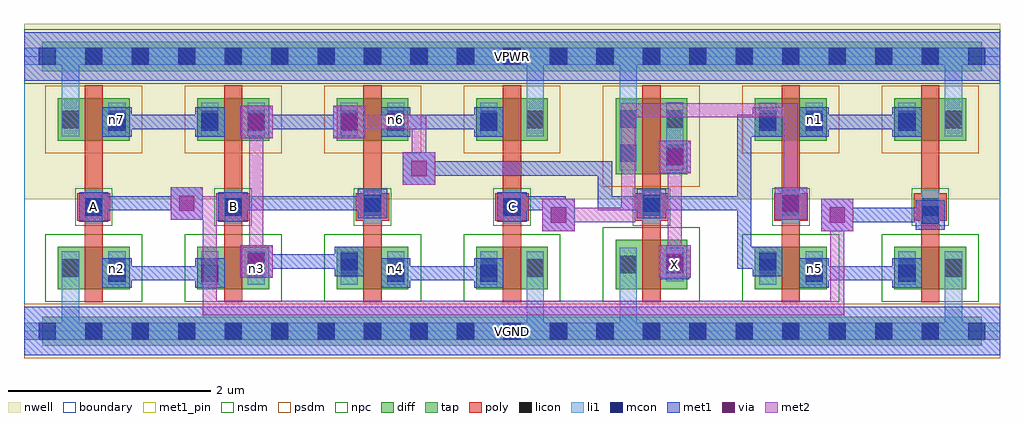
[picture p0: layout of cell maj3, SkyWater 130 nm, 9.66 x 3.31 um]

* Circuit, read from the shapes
.subckt maj3 A B C VGND VPWR X n1 n2 n3 n4 n5 n6 n7
XM1 n2 A VGND VGND sky130_fd_pr__nfet_01v8 w=0.42 l=0.18
XM2 n3 B n2 VGND sky130_fd_pr__nfet_01v8 w=0.42 l=0.18
XM3 n4 B n3 VGND sky130_fd_pr__nfet_01v8 w=0.42 l=0.18
XM4 VGND C n4 VGND sky130_fd_pr__nfet_01v8 w=0.42 l=0.18
XM5 X n3 VGND VGND sky130_fd_pr__nfet_01v8 w=0.49 l=0.18
XM6 n5 C n3 VGND sky130_fd_pr__nfet_01v8 w=0.42 l=0.18
XM7 VGND A n5 VGND sky130_fd_pr__nfet_01v8 w=0.42 l=0.18
XM8 n7 A VPWR VPWR sky130_fd_pr__pfet_01v8 w=0.42 l=0.18
XM9 n3 B n7 VPWR sky130_fd_pr__pfet_01v8 w=0.42 l=0.18
XM10 n6 B n3 VPWR sky130_fd_pr__pfet_01v8 w=0.42 l=0.18
XM11 VPWR C n6 VPWR sky130_fd_pr__pfet_01v8 w=0.42 l=0.18
XM12 X n3 VPWR VPWR sky130_fd_pr__pfet_01v8 w=0.75 l=0.18
XM13 n1 C n3 VPWR sky130_fd_pr__pfet_01v8 w=0.42 l=0.18
XM14 VPWR A n1 VPWR sky130_fd_pr__pfet_01v8 w=0.42 l=0.18
.ends

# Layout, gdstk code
import gdstk
lib = gdstk.Library(unit=1e-6, precision=1e-09)
def R(c, l, rs):  # rectangles x0, y0, x1, y1
    for r in rs: c.add(gdstk.rectangle(r[:2], r[2:], *l))
def A(c, l, x, y, w, h, nx, ny, dx, dy):  # array of equal rectangles
    R(c, l, [(x+i*dx, y+j*dy, x+i*dx+w, y+j*dy+h) for i in range(nx) for j in range(ny)])
nwell = (64, 20)
diff = (65, 20)
tap = (65, 44)
poly = (66, 20)
licon = (66, 44)
li1 = (67, 20)
mcon = (67, 44)
met1_pin = (68, 16)
met1 = (68, 20)
via = (68, 44)
met2 = (69, 20)
nsdm = (93, 44)
psdm = (94, 20)
npc = (95, 20)
boundary = (235, 4)

maj3 = lib.new_cell('maj3')
R(maj3, nwell, [(0,1.305,9.66,3.045)])
A(maj3, diff, 0.335, 0.415, 0.71, 0.42, 4, 2, 1.38, 1.47)
R(maj3, diff, [(5.855,0.415,6.565,0.905), (7.235,0.415,7.945,0.835), (8.615,0.415,9.325,0.835), (5.855,1.555,6.565,2.305), (7.235,1.885,7.945,2.305), (8.615,1.885,9.325,2.305)])
R(maj3, tap, [(0.18,-0.145,9.48,0.145), (0.18,2.575,9.48,2.865)])
A(maj3, poly, 0.6, 0.285, 0.18, 2.15, 7, 1, 1.38, 0)
A(maj3, poly, 0.525, 1.095, 0.33, 0.27, 7, 1, 1.38, 0)
A(maj3, licon, 0.605, -0.085, 0.17, 0.17, 19, 2, 0.46, 2.72)
A(maj3, licon, 0.605, 1.145, 0.17, 0.17, 7, 1, 1.38, 0)
R(maj3, licon, [(0.375,0.54,0.545,0.71), (0.835,0.54,1.005,0.71), (1.755,0.54,1.925,0.71), (2.215,0.54,2.385,0.71), (3.135,0.54,3.305,0.71), (3.595,0.54,3.765,0.71), (4.515,0.54,4.685,0.71), (4.975,0.54,5.145,0.71), (7.275,0.54,7.445,0.71), (7.735,0.54,7.905,0.71), (8.655,0.54,8.825,0.71), (9.115,0.54,9.285,0.71), (5.895,0.575,6.065,0.745), (6.355,0.575,6.525,0.745), (5.895,1.675,6.065,1.845), (6.355,1.675,6.525,1.845), (0.375,2.01,0.545,2.18), (0.835,2.01,1.005,2.18), (1.755,2.01,1.925,2.18), (2.215,2.01,2.385,2.18), (3.135,2.01,3.305,2.18), (3.595,2.01,3.765,2.18), (4.515,2.01,4.685,2.18), (4.975,2.01,5.145,2.18), (7.275,2.01,7.445,2.18), (7.735,2.01,7.905,2.18), (8.655,2.01,8.825,2.18), (9.115,2.01,9.285,2.18), (5.895,2.015,6.065,2.185), (6.355,2.015,6.525,2.185)])
A(maj3, li1, 0.605, 1.065, 0.17, 0.33, 7, 1, 1.38, 0)
R(maj3, li1, [(0,-0.085,9.66,0.085), (0.375,-0.085,0.545,0.79), (4.975,-0.085,5.145,0.79), (5.895,-0.085,6.065,0.825), (9.115,-0.085,9.285,0.79), (0.375,0.46,0.545,0.79), (0.835,0.46,1.005,0.79), (1.755,0.46,1.925,0.79), (2.215,0.46,2.385,0.79), (3.135,0.46,3.305,0.79), (3.595,0.46,3.765,0.79), (4.515,0.46,4.685,0.79), (4.975,0.46,5.145,0.79), (7.275,0.46,7.445,0.79), (7.735,0.46,7.905,0.79), (8.655,0.46,8.825,0.79), (9.115,0.46,9.285,0.79), (5.895,0.495,6.065,0.825), (6.355,0.495,6.525,0.825), (5.895,1.595,6.065,2.265), (5.895,1.595,6.065,2.805), (6.355,1.595,6.525,2.265), (0.375,1.93,0.545,2.26), (0.375,1.93,0.545,2.805), (0.835,1.93,1.005,2.26), (1.755,1.93,1.925,2.26), (2.215,1.93,2.385,2.26), (3.135,1.93,3.305,2.26), (3.595,1.93,3.765,2.26), (4.515,1.93,4.685,2.26), (4.975,1.93,5.145,2.26), (4.975,1.93,5.145,2.805), (7.275,1.93,7.445,2.26), (7.735,1.93,7.905,2.26), (8.655,1.93,8.825,2.26), (9.115,1.93,9.285,2.26), (9.115,1.93,9.285,2.805), (0,2.635,9.66,2.805)])
A(maj3, mcon, 0.145, -0.085, 0.17, 0.17, 21, 2, 0.46, 2.72)
R(maj3, mcon, [(0.835,0.49,1.005,0.66), (1.755,0.49,1.925,0.66), (3.595,0.49,3.765,0.66), (4.515,0.49,4.685,0.66), (7.735,0.49,7.905,0.66), (8.655,0.49,8.825,0.66), (6.355,0.575,6.525,0.745), (2.215,0.605,2.385,0.775), (3.135,0.605,3.305,0.775), (7.275,0.605,7.445,0.775), (8.885,1.065,9.055,1.235), (0.605,1.145,0.775,1.315), (1.985,1.145,2.155,1.315), (4.745,1.145,4.915,1.315), (3.365,1.18,3.535,1.35), (6.125,1.18,6.295,1.35), (7.505,1.18,7.675,1.35), (6.355,1.64,6.525,1.81), (0.835,1.985,1.005,2.155), (1.755,1.985,1.925,2.155), (2.215,1.985,2.385,2.155), (3.135,1.985,3.305,2.155), (3.595,1.985,3.765,2.155), (4.515,1.985,4.685,2.155), (7.275,1.985,7.445,2.155), (7.735,1.985,7.905,2.155), (8.655,1.985,8.825,2.155)])
R(maj3, met1_pin, [(0,-0.24,9.66,0.24), (6.295,0.515,6.585,0.805), (0.545,1.085,0.835,1.375), (1.925,1.085,2.215,1.375), (4.685,1.085,4.975,1.375), (0,2.48,9.66,2.96)])
A(maj3, met1, 0.85, 2, 1.06, 0.14, 3, 1, 1.38, 0)
R(maj3, met1, [(0,-0.24,9.66,0.24), (0.775,0.43,1.065,0.72), (1.695,0.43,1.985,0.72), (3.535,0.43,3.825,0.72), (4.455,0.43,4.745,0.72), (7.675,0.43,7.965,0.72), (8.595,0.43,8.885,0.72), (0.85,0.505,1.91,0.645), (3.61,0.505,4.67,0.645), (7.75,0.505,8.81,0.645), (6.295,0.515,6.585,0.805), (2.14,0.53,2.46,0.85), (6.28,0.53,6.6,0.85), (2.155,0.545,2.445,0.835), (3.075,0.545,3.365,0.835), (7.215,0.545,7.505,0.835), (2.23,0.62,3.29,0.76), (6.37,0.62,6.51,0.76), (7.06,0.62,7.2,1.335), (7.06,0.62,7.43,0.76), (7.2,0.62,7.215,0.835), (5.13,0.99,5.45,1.31), (7.89,0.99,8.21,1.31), (8.825,1.005,9.115,1.295), (5.22,1.08,5.36,1.335), (7.98,1.08,9.04,1.22), (0.545,1.085,0.835,1.375), (1.925,1.085,2.215,1.375), (4.685,1.085,4.975,1.375), (1.45,1.105,1.77,1.425), (7.43,1.105,7.75,1.425), (3.305,1.12,3.595,1.41), (6.065,1.12,6.355,1.41), (7.445,1.12,7.735,1.41), (0.62,1.195,0.76,1.335), (0.62,1.195,1.68,1.335), (2,1.195,2.14,1.335), (2,1.195,3.52,1.335), (4.76,1.195,4.9,1.335), (4.76,1.195,5.36,1.335), (5.68,1.195,5.82,1.68), (5.68,1.195,6.28,1.335), (6.14,1.195,7.2,1.335), (7.06,1.195,7.2,2.14), (3.75,1.45,4.07,1.77), (3.84,1.54,5.82,1.68), (6.28,1.565,6.6,1.885), (6.295,1.58,6.585,1.87), (2.14,1.91,2.46,2.23), (3.06,1.91,3.38,2.23), (0.775,1.925,1.065,2.215), (1.695,1.925,1.985,2.215), (2.155,1.925,2.445,2.215), (3.075,1.925,3.365,2.215), (3.535,1.925,3.825,2.215), (4.455,1.925,4.745,2.215), (7.2,1.925,7.215,2.14), (7.215,1.925,7.505,2.215), (7.675,1.925,7.965,2.215), (8.595,1.925,8.885,2.215), (7.06,2,7.43,2.14), (7.75,2,8.81,2.14), (0,2.48,9.66,2.96)])
R(maj3, via, [(2.225,0.615,2.375,0.765), (6.365,0.615,6.515,0.765), (5.215,1.075,5.365,1.225), (7.975,1.075,8.125,1.225), (1.535,1.19,1.685,1.34), (7.515,1.19,7.665,1.34), (3.835,1.535,3.985,1.685), (6.365,1.65,6.515,1.8), (2.225,1.995,2.375,2.145), (3.145,1.995,3.295,2.145)])
R(maj3, met2, [(1.77,0.16,1.91,1.335), (1.77,0.16,8.12,0.3), (7.98,0.16,8.12,1.22), (2.14,0.53,2.46,0.85), (6.28,0.53,6.6,0.85), (2.23,0.62,2.37,2.14), (6.37,0.62,6.51,1.795), (5.13,0.99,5.45,1.31), (7.89,0.99,8.21,1.31), (5.22,1.08,6.05,1.22), (5.91,1.08,6.05,2.255), (1.45,1.105,1.77,1.425), (7.43,1.105,7.75,1.425), (1.54,1.195,1.91,1.335), (7.52,1.195,7.66,2.255), (3.75,1.45,4.07,1.77), (3.84,1.54,3.98,2.14), (6.28,1.565,6.6,1.885), (2.14,1.91,2.46,2.23), (3.06,1.91,3.38,2.23), (3.15,2,3.98,2.14), (5.91,2.115,7.66,2.255)])
A(maj3, nsdm, 0.21, 0.29, 0.96, 0.67, 4, 1, 1.38, 0)
R(maj3, nsdm, [(5.73,0.29,6.69,1.03), (7.11,0.29,8.07,0.96), (8.49,0.29,9.45,0.96), (0,2.45,9.66,2.99)])
A(maj3, psdm, 0.21, 1.76, 0.96, 0.67, 4, 1, 1.38, 0)
R(maj3, psdm, [(0,-0.27,9.66,0.27), (5.73,1.43,6.69,2.43), (7.11,1.76,8.07,2.43), (8.49,1.76,9.45,2.43)])
A(maj3, npc, 0.505, 1.045, 0.37, 0.37, 7, 1, 1.38, 0)
R(maj3, boundary, [(0,0,9.66,2.72)])
maj3.add(gdstk.Label('n2', (0.92,0.625), layer=67, texttype=5))
maj3.add(gdstk.Label('n7', (0.92,2.095), layer=67, texttype=5))
maj3.add(gdstk.Label('n3', (2.3,0.625), layer=67, texttype=5))
maj3.add(gdstk.Label('n4', (3.68,0.625), layer=67, texttype=5))
maj3.add(gdstk.Label('n6', (3.68,2.095), layer=67, texttype=5))
maj3.add(gdstk.Label('n5', (7.82,0.625), layer=67, texttype=5))
maj3.add(gdstk.Label('n1', (7.82,2.095), layer=67, texttype=5))
maj3.add(gdstk.Label('A', (0.69,1.23), layer=68, texttype=5))
maj3.add(gdstk.Label('B', (2.07,1.23), layer=68, texttype=5))
maj3.add(gdstk.Label('C', (4.83,1.23), layer=68, texttype=5))
maj3.add(gdstk.Label('X', (6.44,0.66), layer=68, texttype=5))
maj3.add(gdstk.Label('VPWR', (4.83,2.72), layer=68, texttype=5))
maj3.add(gdstk.Label('VGND', (4.83,0), layer=68, texttype=5))
maj3.add(gdstk.Label('A', (0.69,1.23), layer=68, texttype=16))
maj3.add(gdstk.Label('B', (2.07,1.23), layer=68, texttype=16))
maj3.add(gdstk.Label('C', (4.83,1.23), layer=68, texttype=16))
maj3.add(gdstk.Label('X', (6.44,0.66), layer=68, texttype=16))
maj3.add(gdstk.Label('VPWR', (4.83,2.72), layer=68, texttype=16))
maj3.add(gdstk.Label('VGND', (4.83,0), layer=68, texttype=16))

lib.write_gds('maj3.gds')
